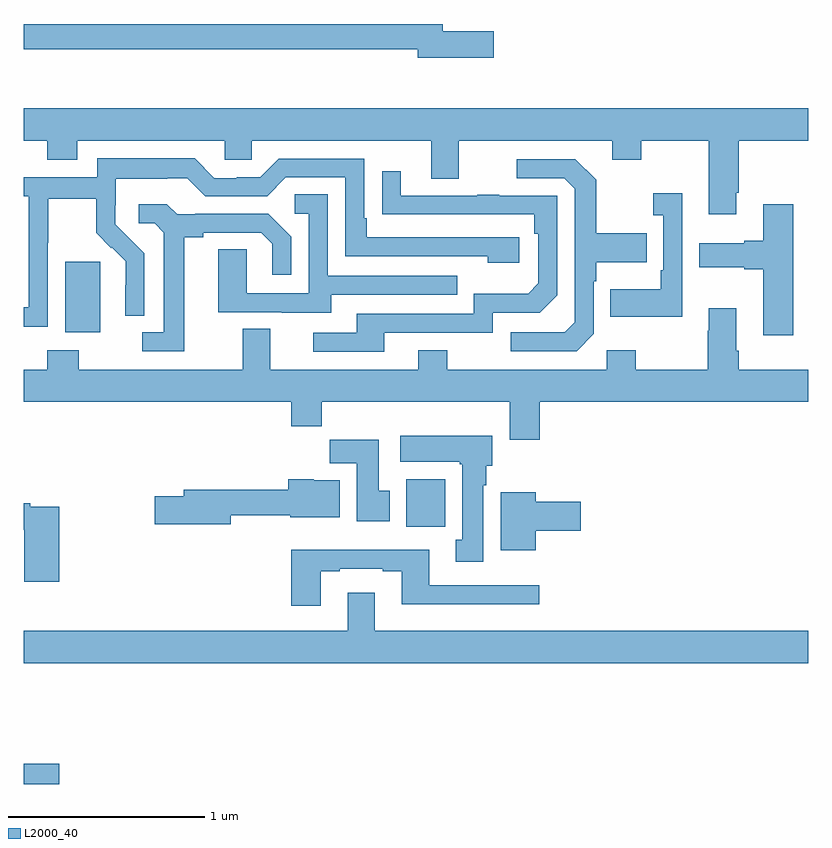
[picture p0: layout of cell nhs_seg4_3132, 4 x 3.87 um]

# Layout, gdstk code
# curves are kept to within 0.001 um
import gdstk
lib = gdstk.Library(unit=1e-6, precision=1e-09)
def R(c, l, rs):  # rectangles x0, y0, x1, y1
    for r in rs: c.add(gdstk.rectangle(r[:2], r[2:], *l))
def P(c, l, *ps):  # polygons
    for p in ps: c.add(gdstk.Polygon(p, *l))
L2000_40 = (2000, 40)

nhs_seg4_3132 = lib.new_cell('nhs_seg4_3132')
R(nhs_seg4_3132, L2000_40, [(277,766.9,277.181,767.002), (278.951,768.212,279.148,768.454), (277.211,769.202,277.39,769.563)])
P(nhs_seg4_3132, L2000_40, [(279.397,770.738),(279.136,770.738),(279.136,770.774),(277,770.774),(277,770.646),(279.008,770.646),(279.008,770.603),(279.397,770.603)],
  [(280.633,769.915),(280.646,769.915),(280.646,770.18),(281,770.18),(281,770.344),(277,770.344),(277,770.18),(277.121,770.18),(277.121,770.081),(277.273,770.081),(277.273,770.18),(278.025,770.18),(278.025,770.082),(278.163,770.082),(278.163,770.18),(279.077,770.18),(279.077,769.986),(279.217,769.986),(279.217,770.18),(280.001,770.18),(280.001,770.081),(280.149,770.081),(280.149,770.18),(280.493,770.18),(280.493,769.803),(280.633,769.803)],
  [(277.122,769.66),(277.125,769.66),(277.125,769.884),(277.369,769.884),(277.369,769.709),(277.446,769.632),(277.449,769.635),(277.52,769.565),(277.52,769.442),(277.518,769.442),(277.518,769.288),(277.614,769.288),(277.614,769.606),(277.468,769.754),(277.468,769.851),(277.47,769.851),(277.47,769.985),(277.733,769.985),(277.733,769.989),(277.833,769.989),(277.926,769.896),(278.241,769.896),(278.337,769.992),(278.64,769.992),(278.64,769.59),(279.365,769.59),(279.365,769.556),(279.526,769.556),(279.526,769.686),(278.749,769.686),(278.749,769.783),(278.736,769.783),(278.736,770.088),(278.301,770.088),(278.205,769.992),(278.087,769.992),(278.087,769.989),(277.971,769.989),(277.871,770.089),(277.374,770.089),(277.374,769.992),(277,769.992),(277,769.896),(277.026,769.896),(277.026,769.329),(277,769.329),(277,769.231),(277.122,769.231)],
  [(279.906,769.194),(279.906,769.463),(279.919,769.463),(279.919,769.559),(280.175,769.559),(280.175,769.707),(279.919,769.707),(279.919,769.979),(279.813,770.085),(279.513,770.085),(279.513,769.989),(279.756,769.989),(279.81,769.935),(279.81,769.254),(279.759,769.203),(279.483,769.203),(279.483,769.107),(279.819,769.107)],
  [(278.839,769.2),(279.39,769.2),(279.39,769.302),(279.63,769.302),(279.72,769.392),(279.72,769.899),(279.425,769.899),(279.425,769.904),(279.313,769.904),(279.313,769.899),(278.923,769.899),(278.923,770.023),(278.827,770.023),(278.827,769.804),(279.604,769.803),(279.604,769.706),(279.624,769.706),(279.624,769.452),(279.571,769.399),(279.294,769.399),(279.294,769.296),(278.699,769.296),(278.699,769.2),(278.475,769.2),(278.475,769.104),(278.839,769.104)],
  [(280.356,769.912),(280.209,769.912),(280.209,769.799),(280.26,769.799),(280.26,769.519),(280.248,769.519),(280.248,769.423),(279.991,769.423),(279.991,769.283),(280.356,769.283)],
  [(278.569,769.395),(279.209,769.395),(279.209,769.491),(278.55,769.491),(278.55,769.907),(278.382,769.907),(278.382,769.806),(278.454,769.806),(278.454,769.401),(278.136,769.401),(278.136,769.625),(277.991,769.625),(277.991,769.305),(278.315,769.305),(278.315,769.301),(278.569,769.301)],
  [(277.819,769.688),(277.915,769.688),(277.915,769.71),(278.21,769.71),(278.267,769.653),(278.267,769.497),(278.364,769.497),(278.364,769.69),(278.248,769.806),(277.876,769.806),(277.876,769.803),(277.782,769.803),(277.73,769.855),(277.587,769.855),(277.587,769.758),(277.668,769.758),(277.715,769.711),(277.715,769.203),(277.605,769.203),(277.605,769.107),(277.819,769.107)],
  [(280.924,769.855),(280.769,769.855),(280.769,769.67),(280.673,769.67),(280.673,769.657),(280.443,769.657),(280.443,769.535),(280.673,769.535),(280.673,769.523),(280.769,769.523),(280.769,769.188),(280.924,769.188)],
  [(279.632,768.848),(281,768.848),(281,769.012),(280.646,769.012),(280.646,769.108),(280.633,769.108),(280.633,769.324),(280.493,769.324),(280.493,769.211),(280.486,769.211),(280.486,769.012),(280.119,769.012),(280.119,769.111),(279.972,769.111),(279.972,769.012),(279.159,769.012),(279.159,769.111),(279.011,769.111),(279.011,769.012),(278.257,769.012),(278.257,769.22),(278.117,769.22),(278.117,769.012),(277.281,769.012),(277.281,769.111),(277.121,769.111),(277.121,769.012),(277,769.012),(277,768.848),(278.363,768.848),(278.363,768.724),(278.519,768.724),(278.519,768.848),(279.479,768.848),(279.479,768.654),(279.632,768.654)],
  [(279.343,768.422),(279.358,768.422),(279.358,768.522),(279.388,768.522),(279.388,768.676),(278.919,768.676),(278.919,768.542),(279.223,768.542),(279.223,768.529),(279.236,768.529),(279.236,768.146),(279.203,768.146),(279.203,768.033),(279.343,768.033)],
  [(278.866,768.396),(278.809,768.396),(278.809,768.655),(278.56,768.655),(278.56,768.536),(278.699,768.536),(278.699,768.24),(278.866,768.24)],
  [(278.056,768.271),(278.36,768.271),(278.36,768.26),(278.611,768.26),(278.611,768.448),(278.478,768.448),(278.478,768.454),(278.348,768.454),(278.348,768.4),(277.817,768.4),(277.817,768.366),(277.668,768.366),(277.668,768.224),(278.056,768.224)],
  [(279.61,768.191),(279.841,768.191),(279.841,768.338),(279.61,768.338),(279.61,768.388),(279.431,768.388),(279.431,768.092),(279.61,768.092)],
  [(277.181,768.312),(277.034,768.312),(277.034,768.332),(277,768.332),(277,768.196),(277.003,768.196),(277.003,767.931),(277.181,767.931)],
  [(278.515,767.985),(278.611,767.985),(278.611,767.997),(278.831,767.997),(278.831,767.985),(278.927,767.985),(278.927,767.816),(279.628,767.816),(279.628,767.913),(279.067,767.913),(279.067,768.094),(278.363,768.094),(278.363,767.808),(278.515,767.808)],
  [(281,767.68),(278.791,767.68),(278.791,767.875),(278.651,767.875),(278.651,767.68),(277,767.68),(277,767.516),(281,767.516)])

lib.write_gds('nhs_seg4_3132.gds')
